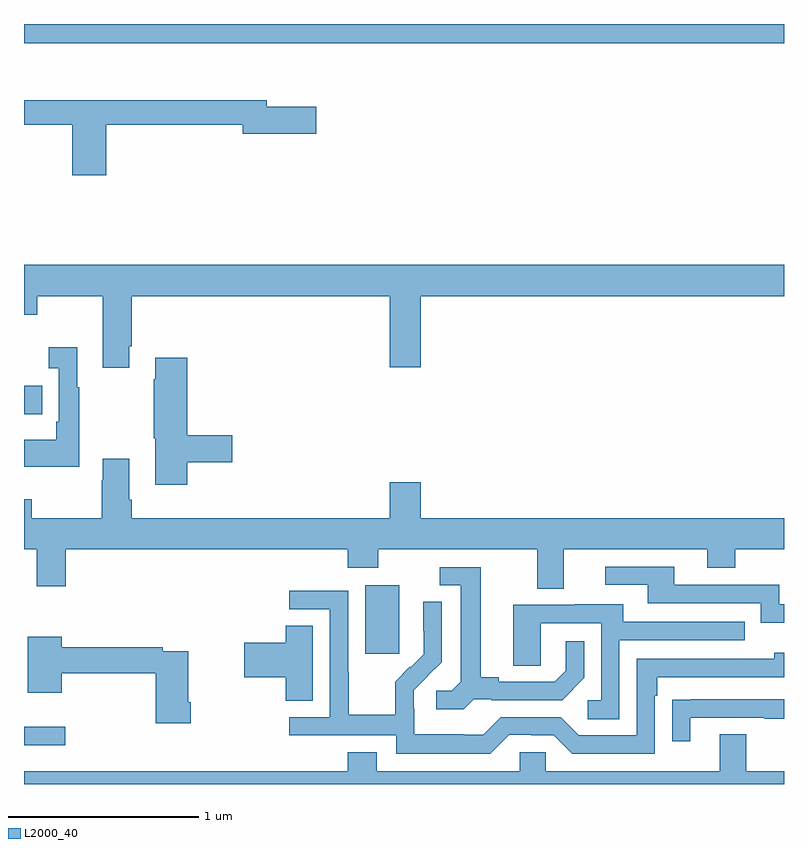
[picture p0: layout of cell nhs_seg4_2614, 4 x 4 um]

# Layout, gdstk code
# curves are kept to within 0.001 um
import gdstk
lib = gdstk.Library(unit=1e-6, precision=1e-09)
def R(c, l, rs):  # rectangles x0, y0, x1, y1
    for r in rs: c.add(gdstk.rectangle(r[:2], r[2:], *l))
def P(c, l, *ps):  # polygons
    for p in ps: c.add(gdstk.Polygon(p, *l))
L2000_40 = (2000, 40)

nhs_seg4_2614 = lib.new_cell('nhs_seg4_2614')
R(nhs_seg4_2614, L2000_40, [(247,813.104,247.216,813.201), (248.795,813.585,248.974,813.946), (247,814.847,247.097,814.995), (247,816.8,251,816.9)])
P(nhs_seg4_2614, L2000_40, [(247.433,816.37),(248.15,816.37),(248.15,816.323),(248.539,816.323),(248.539,816.465),(248.278,816.465),(248.278,816.499),(247,816.499),(247,816.37),(247.255,816.37),(247.255,816.105),(247.433,816.105)],
  [(247.555,815.203),(247.568,815.203),(247.568,815.468),(248.924,815.468),(248.924,815.094),(249.088,815.094),(249.088,815.468),(251,815.468),(251,815.632),(247,815.632),(247,815.369),(247.071,815.369),(247.071,815.468),(247.415,815.468),(247.415,815.091),(247.555,815.091)],
  [(247.291,814.987),(247.279,814.987),(247.279,815.2),(247.131,815.2),(247.131,815.087),(247.182,815.087),(247.182,814.807),(247.17,814.807),(247.17,814.711),(247,814.711),(247,814.571),(247.291,814.571)],
  [(247.859,814.594),(248.095,814.594),(248.095,814.736),(247.859,814.736),(247.859,815.143),(247.691,815.143),(247.691,815.03),(247.684,815.03),(247.684,814.719),(247.691,814.719),(247.691,814.476),(247.859,814.476)],
  [(249.841,814.136),(250.595,814.136),(250.595,814.037),(250.743,814.037),(250.743,814.136),(251,814.136),(251,814.3),(249.088,814.3),(249.088,814.489),(248.924,814.489),(248.924,814.3),(247.568,814.3),(247.568,814.396),(247.555,814.396),(247.555,814.612),(247.415,814.612),(247.415,814.499),(247.408,814.499),(247.408,814.3),(247.041,814.3),(247.041,814.399),(247,814.399),(247,814.136),(247.067,814.136),(247.067,813.942),(247.22,813.942),(247.22,814.136),(248.705,814.136),(248.705,814.037),(248.865,814.037),(248.865,814.136),(249.701,814.136),(249.701,813.928),(249.841,813.928)],
  [(251,813.846),(250.974,813.846),(250.974,813.948),(250.423,813.948),(250.423,814.044),(250.059,814.044),(250.059,813.948),(250.283,813.948),(250.283,813.852),(250.878,813.852),(250.878,813.749),(251,813.749)],
  [(249.366,813.345),(249.46,813.345),(249.46,813.342),(249.832,813.342),(249.948,813.458),(249.948,813.652),(249.851,813.652),(249.851,813.495),(249.794,813.438),(249.499,813.438),(249.499,813.461),(249.403,813.461),(249.403,814.041),(249.189,814.041),(249.189,813.945),(249.299,813.945),(249.299,813.437),(249.252,813.39),(249.171,813.39),(249.171,813.293),(249.314,813.293)],
  [(249.555,813.159),(249.671,813.159),(249.671,813.156),(249.789,813.156),(249.885,813.06),(250.32,813.06),(250.32,813.365),(250.333,813.365),(250.333,813.462),(251,813.462),(251,813.592),(250.949,813.592),(250.949,813.558),(250.224,813.558),(250.224,813.156),(249.921,813.156),(249.825,813.252),(249.51,813.252),(249.417,813.159),(249.317,813.159),(249.317,813.163),(249.054,813.163),(249.054,813.297),(249.052,813.297),(249.052,813.394),(249.198,813.542),(249.198,813.86),(249.102,813.86),(249.102,813.706),(249.104,813.706),(249.104,813.584),(249.033,813.513),(249.03,813.516),(248.953,813.439),(248.953,813.265),(248.709,813.265),(248.709,813.488),(248.706,813.488),(248.706,813.918),(248.397,813.918),(248.397,813.819),(248.61,813.819),(248.61,813.252),(248.397,813.252),(248.397,813.156),(248.958,813.156),(248.958,813.059),(249.455,813.059)],
  [(250.134,813.657),(250.793,813.657),(250.793,813.753),(250.153,813.753),(250.153,813.847),(249.899,813.847),(249.899,813.843),(249.575,813.843),(249.575,813.523),(249.72,813.523),(249.72,813.747),(250.038,813.747),(250.038,813.342),(249.966,813.342),(249.966,813.241),(250.134,813.241)],
  [(248.521,813.734),(248.378,813.734),(248.378,813.644),(248.16,813.644),(248.16,813.461),(248.378,813.461),(248.378,813.337),(248.521,813.337)],
  [(247.877,813.331),(247.864,813.331),(247.864,813.6),(247.73,813.6),(247.73,813.62),(247.198,813.62),(247.198,813.676),(247.019,813.676),(247.019,813.38),(247.198,813.38),(247.198,813.484),(247.694,813.484),(247.694,813.219),(247.877,813.219)],
  [(250.507,813.249),(250.897,813.249),(250.897,813.244),(251,813.244),(251,813.345),(250.513,813.345),(250.513,813.344),(250.411,813.344),(250.411,813.126),(250.507,813.126)],
  [(251,812.968),(250.801,812.968),(250.801,813.163),(250.661,813.163),(250.661,812.968),(249.747,812.968),(249.747,813.066),(249.609,813.066),(249.609,812.968),(248.857,812.968),(248.857,813.067),(248.705,813.067),(248.705,812.968),(247,812.968),(247,812.9),(251,812.9)])

lib.write_gds('nhs_seg4_2614.gds')
